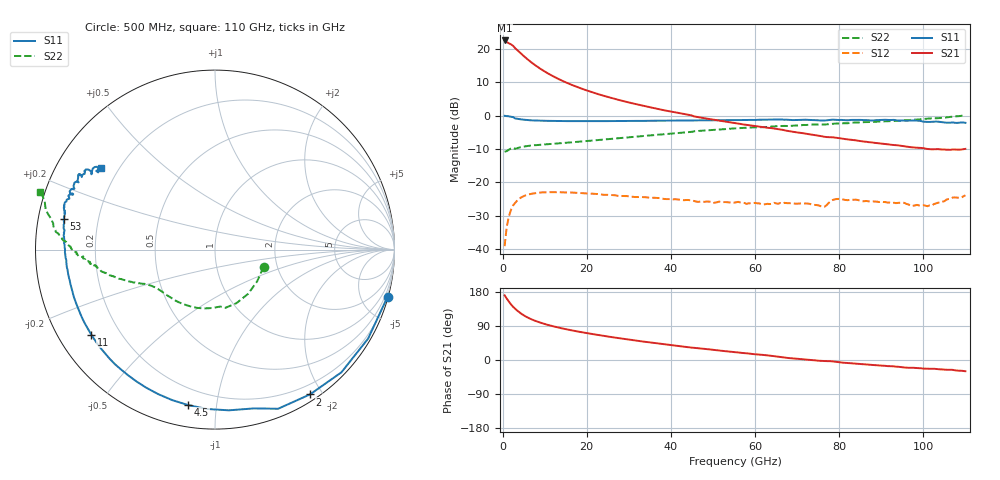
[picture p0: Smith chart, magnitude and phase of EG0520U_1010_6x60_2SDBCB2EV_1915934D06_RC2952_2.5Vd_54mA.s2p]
!File name = EG0520U_1010_6x60_2SDBCB2EV_1915934D06_RC2952_2.5Vd_54mA.s2p
!Base file name = EG0520U_1010_6x60_2SDBCB2EV_1915934D06_RC2952
!Date = 8/23/2019
!Time = 1:14 PM
!Test duration(min) = 0.15
!Test = S-Parameters
!MPTS version = 8.91.5
!State File = C:\Data\PNA\20190821205423\S-Parameters_2019-08-23.sta
!Cal File =
!ComputerName = CMPE-LAB-6
!Comments =
!Attenuation = 0
!Z0 = 50
!Input Power(dBm) = -13.00
!Device ID = EG0520U_1010_6x60_2SDBCB2EV
!Row = 29
!Column = 52
!Technology = QPHT09
!Lot/Wafer = 1915934D06
!Gate Size = 360
!Mask = EG0520
!Cal Standards = GaAs BCB
!Cal Kit = EG2306
!Job Number = 20190821205423
!Device Type = FET
!set_Vg(v) = -1.500
!set_Vd(v) = 2.500
!set_Vd(mA) = 54.000
!file_name = EG0520U_1010_6x60_2SDBCB2EV_1915934D06_RC2952_2.5Vd_54mA.s2p
!Vd(V) = 2.500
!Vd(mA) = 54.172
!Vg(V) = -0.407
!Vg(mA) = -0.000
# GHz  S  DB  R  50
!%	Freq(GHz)  s11(dB)  s11(deg)  s21(dB)  s21(deg)  s12(dB)  s12(deg)  s22(dB)  s22(deg)
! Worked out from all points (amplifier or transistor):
!   220 points, 500 MHz to 110 GHz, reference 50 ohm
!   highest |S21| = 22.6 dB at 500 MHz (marker M1)
!   |S21| within 3 dB of that: start of sweep to 3.593 GHz
!   unconditionally stable (mu >= 1): 32.34 GHz to 103.3 GHz
!   at 18.5 GHz: K = 0.54, MSG = 15.7 dB, |S12| = -23.2 dB
!   at 55.5 GHz: K = 1.50, MAG = 7.7 dB, |S12| = -26.0 dB
!   at 110 GHz: K = -1.23, MSG = 7.0 dB, |S12| = -23.9 dB
!   S11 on the Smith chart (normalised r, x): 500 MHz: 0.09, -7.46; 2 GHz: 0.08, -1.85; 4.5 GHz: 0.11, -0.84; 11 GHz: 0.10, -0.31; 53 GHz: 0.08, +0.10; 110 GHz: 0.13, +0.31
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0.5  -0.03 -15.3  22.61 170.8  -39.20 81.3  -10.82 -19.7
1  -0.12 -30.2  22.14 162.0  -33.45 73.3  -10.63 -37.2
1.5  -0.16 -44.1  21.76 154.5  -30.32 65.7  -10.23 -53.2
2  -0.31 -56.7  21.47 147.0  -28.35 58.7  -9.85 -68.1
2.5  -0.41 -68.4  21.01 140.5  -27.00 52.9  -9.65 -79.7
3  -0.81 -76.2  20.30 135.5  -26.20 48.5  -9.93 -84.7
3.5  -0.93 -85.1  19.72 130.4  -25.47 44.1  -9.73 -93.1
4.5  -1.12 -99.8  18.55 121.8  -24.50 36.8  -9.40 -106.4
5.5  -1.26 -111.4  17.44 114.9  -23.93 31.2  -9.19 -116.2
7  -1.40 -124.5  15.89 106.8  -23.43 24.9  -8.93 -126.3
9  -1.49 -136.7  14.10 98.6  -23.07 19.0  -8.72 -134.6
11  -1.55 -145.5  12.56 91.9  -22.97 14.6  -8.54 -140.4
14.5  -1.61 -156.3  10.33 82.6  -23.04 9.5  -8.19 -146.5
19  -1.64 -165.2  8.04 72.9  -23.27 5.4  -7.71 -150.9
26.5  -1.61 -174.6  5.11 59.5  -23.88 2.5  -6.87 -155.3
37  -1.50 177.4  2.02 43.4  -24.72 2.4  -5.70 -160.3
53  -1.32 168.5  -1.78 23.2  -25.96 6.4  -4.02 -168.2
55.5  -1.31 167.1  -2.25 20.4  -26.02 7.4  -3.78 -169.5
73.5  -1.30 159.1  -5.69 -0.2  -26.67 6.0  -2.66 -176.2
92  -1.30 150.9  -8.66 -16.3  -26.10 -5.9  -1.63 177.2
101  -1.86 148.7  -9.99 -23.0  -27.18 -4.9  -0.88 172.4
110  -2.13 144.5  -9.96 -29.6  -23.90 -8.4  0.21 161.7
